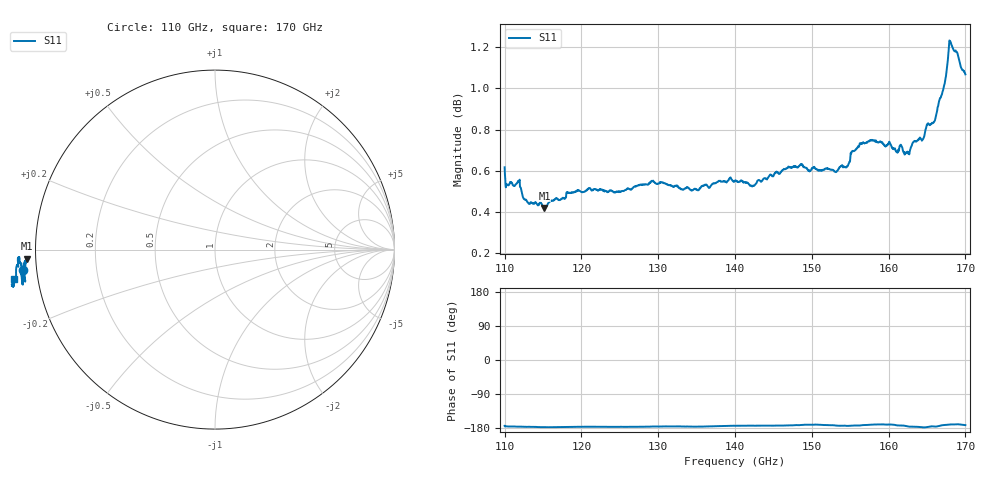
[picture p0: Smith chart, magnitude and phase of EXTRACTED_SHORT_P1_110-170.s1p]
! Generated by Phase I extraction
# Hz S RI R 50
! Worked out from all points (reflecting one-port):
!   1471 points, 110 GHz to 170 GHz, reference 50 ohm
!   lowest |S11| = 0.4 dB at 115.2 GHz (marker M1)
!   phase of S11 starts at -174 deg and turns +2 deg over the sweep
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1.1e11  -1.068 -0.1129
1.105306e11  -1.06 -0.0846
1.151837e11  -1.048 -0.0502
1.175102e11  -1.053 -0.0573
1.209796e11  -1.059 -0.0741
1.250204e11  -1.057 -0.0687
1.325306e11  -1.058 -0.088
1.355102e11  -1.058 -0.0773
1.4e11  -1.059 -0.1192
1.449796e11  -1.061 -0.1257
1.475102e11  -1.064 -0.1414
1.490612e11  -1.06 -0.1717
1.505714e11  -1.058 -0.1755
1.534694e11  -1.066 -0.1227
1.550204e11  -1.073 -0.1196
1.579184e11  -1.075 -0.1801
1.590612e11  -1.071 -0.1946
1.604898e11  -1.07 -0.1813
1.611837e11  -1.074 -0.137
1.619592e11  -1.075 -0.1302
1.625306e11  -1.079 -0.0887
1.647347e11  -1.094 -0.044
1.65551e11  -1.096 -0.0933
1.662857e11  -1.104 -0.0885
1.670612e11  -1.109 -0.1573
1.68e11  -1.134 -0.2021
1.691429e11  -1.123 -0.203
1.7e11  -1.119 -0.1611
